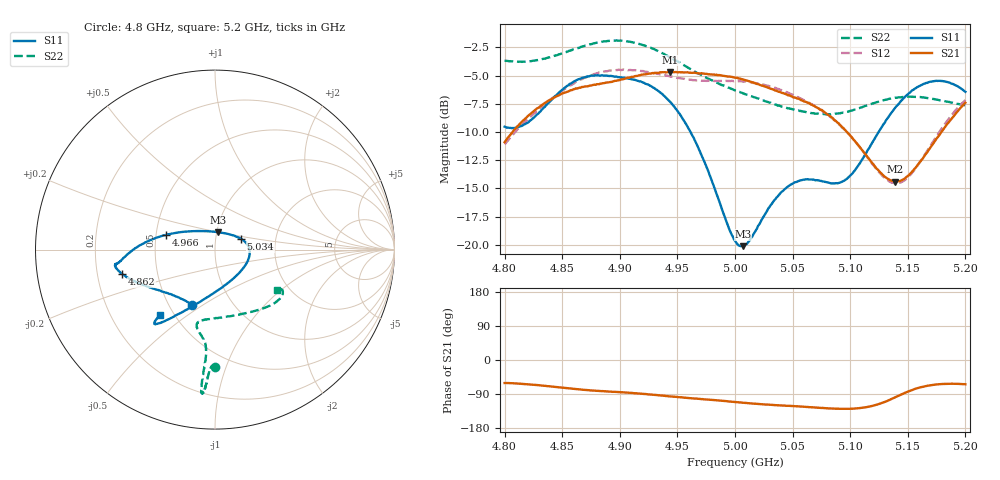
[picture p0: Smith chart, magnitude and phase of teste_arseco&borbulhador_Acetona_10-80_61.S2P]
! Network Analyzer HP8722D
! Hewlett-Packard
! Data name: Linha & Wilkinson
! Saver's name: Rodrigo Anjos
! Comments: Teste da utilização de aquisição
! continua pelo VNA HP8722D
! Time and date: 17/4/2025 14:52
!  Frequency  S11  S21  S12  S22
# HZ  S  MA R 50
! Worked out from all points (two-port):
!   401 points, 4.8 GHz to 5.2 GHz, reference 50 ohm
!   highest |S21| = -4.67 dB at 4.944 GHz (marker M1); lowest = -14.4 dB at 5.139 GHz (marker M2)
!   |S21| within 3 dB of the highest: 4.832 GHz to 5.068 GHz (236.6 MHz wide, 4.78 % of centre); 5.197553 GHz to end of sweep
!   lowest |S11| = -20.1 dB at 5.007 GHz (marker M3), VSWR 1.22, Z = 50.8 + j9.94 ohm
!   |S11| at or under -10 dB: 4.961 GHz to 5.125 GHz (163.3 MHz wide, 3.24 % of centre)
!   |S22| runs from -8.4 to -1.9 dB; largest |S21 - S12| = 0.87
!   S11 on the Smith chart (normalised r, x): 4.8 GHz: 0.65, -0.45; 4.862 GHz: 0.31, -0.12; 4.966 GHz: 0.57, +0.10; 5.034 GHz: 1.33, +0.16; 5.2 GHz: 0.42, -0.40
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4.8e9  0.3337 -112.9  0.2849 -60.8  0.2789 -174.9  0.6544 -89.9
4.819e9  0.3462 -132.9  0.3665 -63.8  0.3556 -173.3  0.649 -91.4
4.862e9  0.5354 -165.3  0.4941 -76.7  0.5284 -176.4  0.742 -93.6
4.867e9  0.5484 -167.2  0.5007 -78.2  0.5421 -177.5  0.7554 -93.8
4.899e9  0.5538 -171.9  0.5366 -84.8  0.5977 175.8  0.8029 -95.1
4.934e9  0.4781 -177.9  0.5788 -93.3  0.5723 172.0  0.7183 -95.6
4.944e9  0.429 177.6  0.5842 -96.1  0.5562 172.2  0.6768 -95.4
4.966e9  0.2843 163.2  0.5782 -101.7  0.5357 174.0  0.5823 -94.8
5e9  0.104 103.6  0.5502 -110.9  0.5327 176.4  0.4839 -99.0
5.007e9  0.09849 79.5  0.5409 -112.7  0.5287 176.4  0.4691 -100.7
5.013e9  0.1048 60.8  0.5291 -114.5  0.5254 176.1  0.4575 -102.0
5.034e9  0.1571 22.4  0.4856 -119.0  0.4963 175.1  0.421 -103.6
5.05e9  0.1866 5.8  0.4525 -121.7  0.4625 174.3  0.3986 -99.8
5.067e9  0.1946 -12.4  0.417 -124.7  0.419 173.9  0.3831 -91.2
5.088e9  0.1875 -46.3  0.352 -128.4  0.3503 173.8  0.3816 -75.1
5.098e9  0.1979 -67.2  0.3131 -128.8  0.3127 174.6  0.3893 -66.7
5.134e9  0.374 -115.8  0.194 -105.5  0.1906 -158.3  0.4437 -42.9
5.139e9  0.4046 -118.8  0.1905 -98.6  0.1871 -150.5  0.4485 -40.7
5.152e9  0.4737 -124.3  0.2063 -81.0  0.2038 -130.3  0.4532 -35.9
5.17e9  0.5289 -128.4  0.2711 -66.6  0.2765 -112.7  0.4449 -31.8
5.184e9  0.5271 -129.7  0.3419 -62.8  0.3534 -107.2  0.4315 -30.8
5.2e9  0.4764 -130.2  0.4261 -64.1  0.4386 -106.2  0.4151 -33.2
